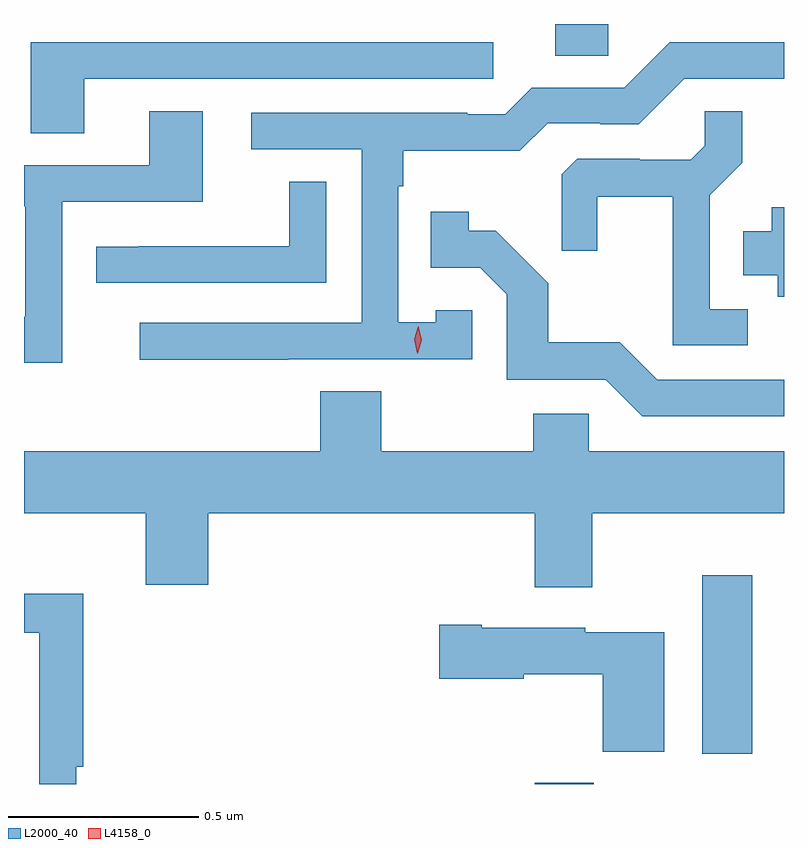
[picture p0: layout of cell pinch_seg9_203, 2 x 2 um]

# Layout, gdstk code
import gdstk
lib = gdstk.Library(unit=1e-6, precision=1e-09)
def R(c, l, rs):  # rectangles x0, y0, x1, y1
    for r in rs: c.add(gdstk.rectangle(r[:2], r[2:], *l))
def P(c, l, *ps):  # polygons
    for p in ps: c.add(gdstk.Polygon(p, *l))
L2000_40 = (2000, 40)
L4158_0 = (4158, 0)

pinch_seg9_203 = lib.new_cell('pinch_seg9_203')
R(pinch_seg9_203, L2000_40, [(549.647,1237,549.802,1237.003), (550.088,1237.08,550.219,1237.549), (549.701,1238.917,549.84,1239)])
P(pinch_seg9_203, L2000_40, [(548.461,1238.856),(549.538,1238.856),(549.538,1238.952),(548.321,1238.952),(548.321,1238.713),(548.461,1238.713)],
  [(548.999,1238.118),(549.483,1238.118),(549.483,1238.247),(549.387,1238.247),(549.387,1238.215),(549.288,1238.215),(549.288,1238.573),(549.301,1238.573),(549.301,1238.666),(549.608,1238.666),(549.681,1238.739),(549.82,1238.739),(549.82,1238.736),(549.921,1238.736),(550.041,1238.856),(550.303,1238.856),(550.303,1238.952),(550.002,1238.952),(549.882,1238.832),(549.639,1238.832),(549.57,1238.763),(549.47,1238.763),(549.47,1238.766),(548.901,1238.766),(548.901,1238.67),(549.192,1238.67),(549.192,1238.214),(548.607,1238.214),(548.607,1238.116),(548.999,1238.116)],
  [(548.403,1238.532),(548.773,1238.532),(548.773,1238.771),(548.633,1238.771),(548.633,1238.628),(548.303,1238.628),(548.303,1238.52),(548.306,1238.52),(548.306,1238.229),(548.303,1238.229),(548.303,1238.109),(548.403,1238.109)],
  [(550.207,1238.25),(550.107,1238.25),(550.107,1238.549),(550.193,1238.635),(550.193,1238.771),(550.095,1238.771),(550.095,1238.68),(550.058,1238.643),(549.924,1238.643),(549.924,1238.646),(549.759,1238.646),(549.718,1238.605),(549.718,1238.403),(549.812,1238.403),(549.812,1238.546),(550.01,1238.546),(550.01,1238.154),(550.207,1238.154)],
  [(549.099,1238.585),(549.001,1238.585),(549.001,1238.415),(548.605,1238.415),(548.605,1238.414),(548.493,1238.414),(548.493,1238.319),(549.099,1238.319)],
  [(550.303,1238.518),(550.271,1238.518),(550.271,1238.455),(550.196,1238.455),(550.196,1238.339),(550.286,1238.339),(550.286,1238.282),(550.303,1238.282)],
  [(550.303,1238.064),(549.969,1238.064),(549.871,1238.163),(549.682,1238.163),(549.682,1238.318),(549.544,1238.456),(549.474,1238.456),(549.474,1238.506),(549.373,1238.506),(549.373,1238.358),(549.504,1238.358),(549.573,1238.289),(549.573,1238.064),(549.834,1238.064),(549.93,1237.968),(550.303,1237.968)],
  [(549.799,1237.712),(550.303,1237.712),(550.303,1237.876),(549.789,1237.876),(549.789,1237.974),(549.643,1237.974),(549.643,1237.876),(549.243,1237.876),(549.243,1238.033),(549.083,1238.033),(549.083,1237.876),(548.303,1237.876),(548.303,1237.712),(548.624,1237.712),(548.624,1237.524),(548.788,1237.524),(548.788,1237.712),(549.647,1237.712),(549.647,1237.518),(549.799,1237.518)],
  [(548.441,1237.045),(548.459,1237.045),(548.459,1237.501),(548.303,1237.501),(548.303,1237.398),(548.343,1237.398),(548.343,1237),(548.441,1237)],
  [(549.988,1237.399),(549.78,1237.399),(549.78,1237.411),(549.508,1237.411),(549.508,1237.419),(549.396,1237.419),(549.396,1237.277),(549.618,1237.277),(549.618,1237.289),(549.826,1237.289),(549.826,1237.085),(549.988,1237.085)])
P(pinch_seg9_203, L4158_0, [(549.338,1238.133),(549.33,1238.17),(549.34,1238.205),(549.341,1238.205),(549.341,1238.205),(549.35,1238.169),(549.339,1238.133),(549.339,1238.133)])

lib.write_gds('pinch_seg9_203.gds')
